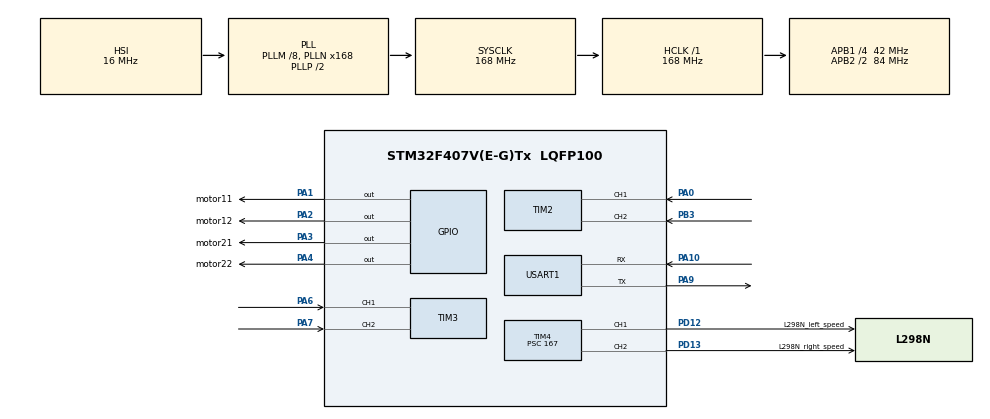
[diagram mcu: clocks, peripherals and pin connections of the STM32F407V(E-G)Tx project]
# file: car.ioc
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Mcu.Family=STM32F4
Mcu.Name=STM32F407V(E-G)Tx
Mcu.Package=LQFP100
NVIC.PriorityGroup=NVIC_PRIORITYGROUP_4
NVIC.TIM1_BRK_TIM9_IRQn=true\:0\:0\:false\:false\:true\:true\:true\:true
PA0-WKUP.Signal=S_TIM2_CH1_ETR
PA1.GPIO_Label=motor11
PA1.Signal=GPIO_Output
PA10.Mode=Asynchronous
PA10.Signal=USART1_RX
PA13.Mode=Serial_Wire
PA13.Signal=SYS_JTMS-SWDIO
PA14.Mode=Serial_Wire
PA14.Signal=SYS_JTCK-SWCLK
PA2.GPIO_Label=motor12
PA2.Signal=GPIO_Output
PA3.GPIO_Label=motor21
PA3.Signal=GPIO_Output
PA4.GPIO_Label=motor22
PA4.Signal=GPIO_Output
PA6.Signal=S_TIM3_CH1
PA7.Signal=S_TIM3_CH2
PA9.Mode=Asynchronous
PA9.Signal=USART1_TX
PB3.Signal=S_TIM2_CH2
PD12.GPIO_Label=L298N_left_speed
PD12.GPIO_Speed=GPIO_SPEED_FREQ_HIGH
PD12.Signal=S_TIM4_CH1
PD13.GPIO_Label=L298N_right_speed
PD13.GPIO_Speed=GPIO_SPEED_FREQ_HIGH
PD13.Signal=S_TIM4_CH2
PH0-OSC_IN.Mode=HSE-External-Oscillator
PH0-OSC_IN.Signal=RCC_OSC_IN
PH1-OSC_OUT.Mode=HSE-External-Oscillator
PH1-OSC_OUT.Signal=RCC_OSC_OUT
ProjectManager.HeapSize=0x200
ProjectManager.StackSize=0x400
ProjectManager.TargetToolchain=MDK-ARM V5.32
RCC.48MHZClocksFreq_Value=84000000
RCC.AHBFreq_Value=168000000
RCC.APB1CLKDivider=RCC_HCLK_DIV4
RCC.APB1Freq_Value=42000000
RCC.APB1TimFreq_Value=84000000
RCC.APB2CLKDivider=RCC_HCLK_DIV2
RCC.APB2Freq_Value=84000000
RCC.APB2TimFreq_Value=168000000
RCC.CortexFreq_Value=168000000
RCC.HCLKFreq_Value=168000000
RCC.HSE_VALUE=8000000
RCC.HSI_VALUE=16000000
RCC.LSE_VALUE=32768
RCC.PLLM=8
RCC.PLLN=168
RCC.SYSCLKFreq_VALUE=168000000
RCC.SYSCLKSource=RCC_SYSCLKSOURCE_PLLCLK
RCC.VCOOutputFreq_Value=336000000
SH.S_TIM2_CH1_ETR.0=TIM2_CH1,Encoder_Interface
SH.S_TIM2_CH2.0=TIM2_CH2,Encoder_Interface
SH.S_TIM3_CH1.0=TIM3_CH1,Encoder_Interface
SH.S_TIM3_CH2.0=TIM3_CH2,Encoder_Interface
SH.S_TIM4_CH1.0=TIM4_CH1,PWM Generation1 CH1
SH.S_TIM4_CH2.0=TIM4_CH2,PWM Generation2 CH2
TIM2.EncoderMode=TIM_ENCODERMODE_TI12
TIM2.IC1Filter=10
TIM2.IC2Filter=10
TIM3.EncoderMode=TIM_ENCODERMODE_TI12
TIM3.IC1Filter=10
TIM3.IC2Filter=10
TIM4.AutoReloadPreload=TIM_AUTORELOAD_PRELOAD_ENABLE
TIM4.Channel-PWM\ Generation1\ CH1=TIM_CHANNEL_1
TIM4.Channel-PWM\ Generation2\ CH2=TIM_CHANNEL_2
TIM4.Period=99
TIM4.Prescaler=167
TIM9.Period=100
TIM9.Prescaler=16800-1
USART1.VirtualMode=VM_ASYNC
VP_TIM4_VS_ClockSourceINT.Mode=Internal
VP_TIM9_VS_ClockSourceINT.Mode=Internal
board=custom

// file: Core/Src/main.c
/* USER CODE BEGIN Header */
/**
  ******************************************************************************
  * @file           : main.c
  * @brief          : Main program body
  ******************************************************************************
  * @attention
  *
  * Copyright (c) 2023 STMicroelectronics.
  * All rights reserved.
  *
  * This software is licensed under terms that can be found in the LICENSE file
  * in the root directory of this software component.
  * If no LICENSE file comes with this software, it is provided AS-IS.
  *
  ******************************************************************************
  */
/* USER CODE END Header */
#include "main.h"
#include "tim.h"
#include "usart.h"
#include "gpio.h"

/* USER CODE BEGIN Includes */
#include "motor.h"
#include "encoder.h"
#include <stdio.h>
/* USER CODE END Includes */

/* USER CODE BEGIN PV */
uint32_t speed = 60 ;

//pid
int Encoder_count_left,Encoder_count_right,Target_Velocity_left,Target_Velocity_right;
float Velocity_KP=0.6,Velocity_KI=0.006,Velocity_KD;

int target_rpm_right=-360;
int target_rpm_left=-360;//目标转速
int Moto_pwm_left=0;
int Moto_pwm_right=0;
/* USER CODE END PV */

void SystemClock_Config(void);

int main(void)
{

  /* MCU Configuration--------------------------------------------------------*/

  /* Reset of all peripherals, Initializes the Flash interface and the Systick. */
  HAL_Init();

  /* Configure the system clock */
  SystemClock_Config();

  /* Initialize all configured peripherals */
  MX_GPIO_Init();
  MX_TIM4_Init();
  MX_TIM2_Init();
  MX_USART1_UART_Init();
  MX_TIM9_Init();
  MX_TIM3_Init();
  /* USER CODE BEGIN 2 */
   HAL_TIM_Encoder_Start(&htim2, TIM_CHANNEL_ALL);//开启TIM2的编码器接口模式
	  HAL_TIM_Encoder_Start(&htim3, TIM_CHANNEL_ALL);//开启TIM3的编码器接口模式

		//PWM输出
		HAL_TIM_PWM_Start(&htim4, TIM_CHANNEL_1);
		HAL_TIM_PWM_Start(&htim4, TIM_CHANNEL_2);

		__HAL_TIM_SET_COMPARE(&htim4, TIM_CHANNEL_1,speed);
		__HAL_TIM_SET_COMPARE(&htim4, TIM_CHANNEL_2,speed);

		car_go_straight();

		HAL_TIM_Base_Start_IT(&htim9);

  /* USER CODE END 2 */

  /* Infinite loop */
  while (1)
  {

    /* USER CODE BEGIN 3 */
    //target_rpm_left=-70;
		//printf("target_rpm_left=%d\t\n\n",target_rpm_left);
		//HAL_Delay(5000);
    //target_rpm_left=50;
		//printf("target_rpm_left=%d\t\n\n",target_rpm_left);
		//HAL_Delay(5000);
    //target_rpm_left=20;
		//printf("target_rpm_left=%d\t\n\n",target_rpm_left);

  }
  /* USER CODE END 3 */
}

void SystemClock_Config(void)
{
  RCC_OscInitTypeDef RCC_OscInitStruct = {0};
  RCC_ClkInitTypeDef RCC_ClkInitStruct = {0};

  /** Configure the main internal regulator output voltage
  */
  __HAL_RCC_PWR_CLK_ENABLE();
  __HAL_PWR_VOLTAGESCALING_CONFIG(PWR_REGULATOR_VOLTAGE_SCALE1);

  /** Initializes the RCC Oscillators according to the specified parameters
  * in the RCC_OscInitTypeDef structure.
  */
  RCC_OscInitStruct.OscillatorType = RCC_OSCILLATORTYPE_HSI;
  RCC_OscInitStruct.HSIState = RCC_HSI_ON;
  RCC_OscInitStruct.HSICalibrationValue = RCC_HSICALIBRATION_DEFAULT;
  RCC_OscInitStruct.PLL.PLLState = RCC_PLL_ON;
  RCC_OscInitStruct.PLL.PLLSource = RCC_PLLSOURCE_HSI;
  RCC_OscInitStruct.PLL.PLLM = 8;
  RCC_OscInitStruct.PLL.PLLN = 168;
  RCC_OscInitStruct.PLL.PLLP = RCC_PLLP_DIV2;
  RCC_OscInitStruct.PLL.PLLQ = 4;
  if (HAL_RCC_OscConfig(&RCC_OscInitStruct) != HAL_OK)
  {
    Error_Handler();
  }

  /** Initializes the CPU, AHB and APB buses clocks
  */
  RCC_ClkInitStruct.ClockType = RCC_CLOCKTYPE_HCLK|RCC_CLOCKTYPE_SYSCLK
                              |RCC_CLOCKTYPE_PCLK1|RCC_CLOCKTYPE_PCLK2;
  RCC_ClkInitStruct.SYSCLKSource = RCC_SYSCLKSOURCE_PLLCLK;
  RCC_ClkInitStruct.AHBCLKDivider = RCC_SYSCLK_DIV1;
  RCC_ClkInitStruct.APB1CLKDivider = RCC_HCLK_DIV4;
  RCC_ClkInitStruct.APB2CLKDivider = RCC_HCLK_DIV2;

  if (HAL_RCC_ClockConfig(&RCC_ClkInitStruct, FLASH_LATENCY_5) != HAL_OK)
  {
    Error_Handler();
  }
}

void Error_Handler(void)
{
  __disable_irq();
  while (1)
  {
  }
}
